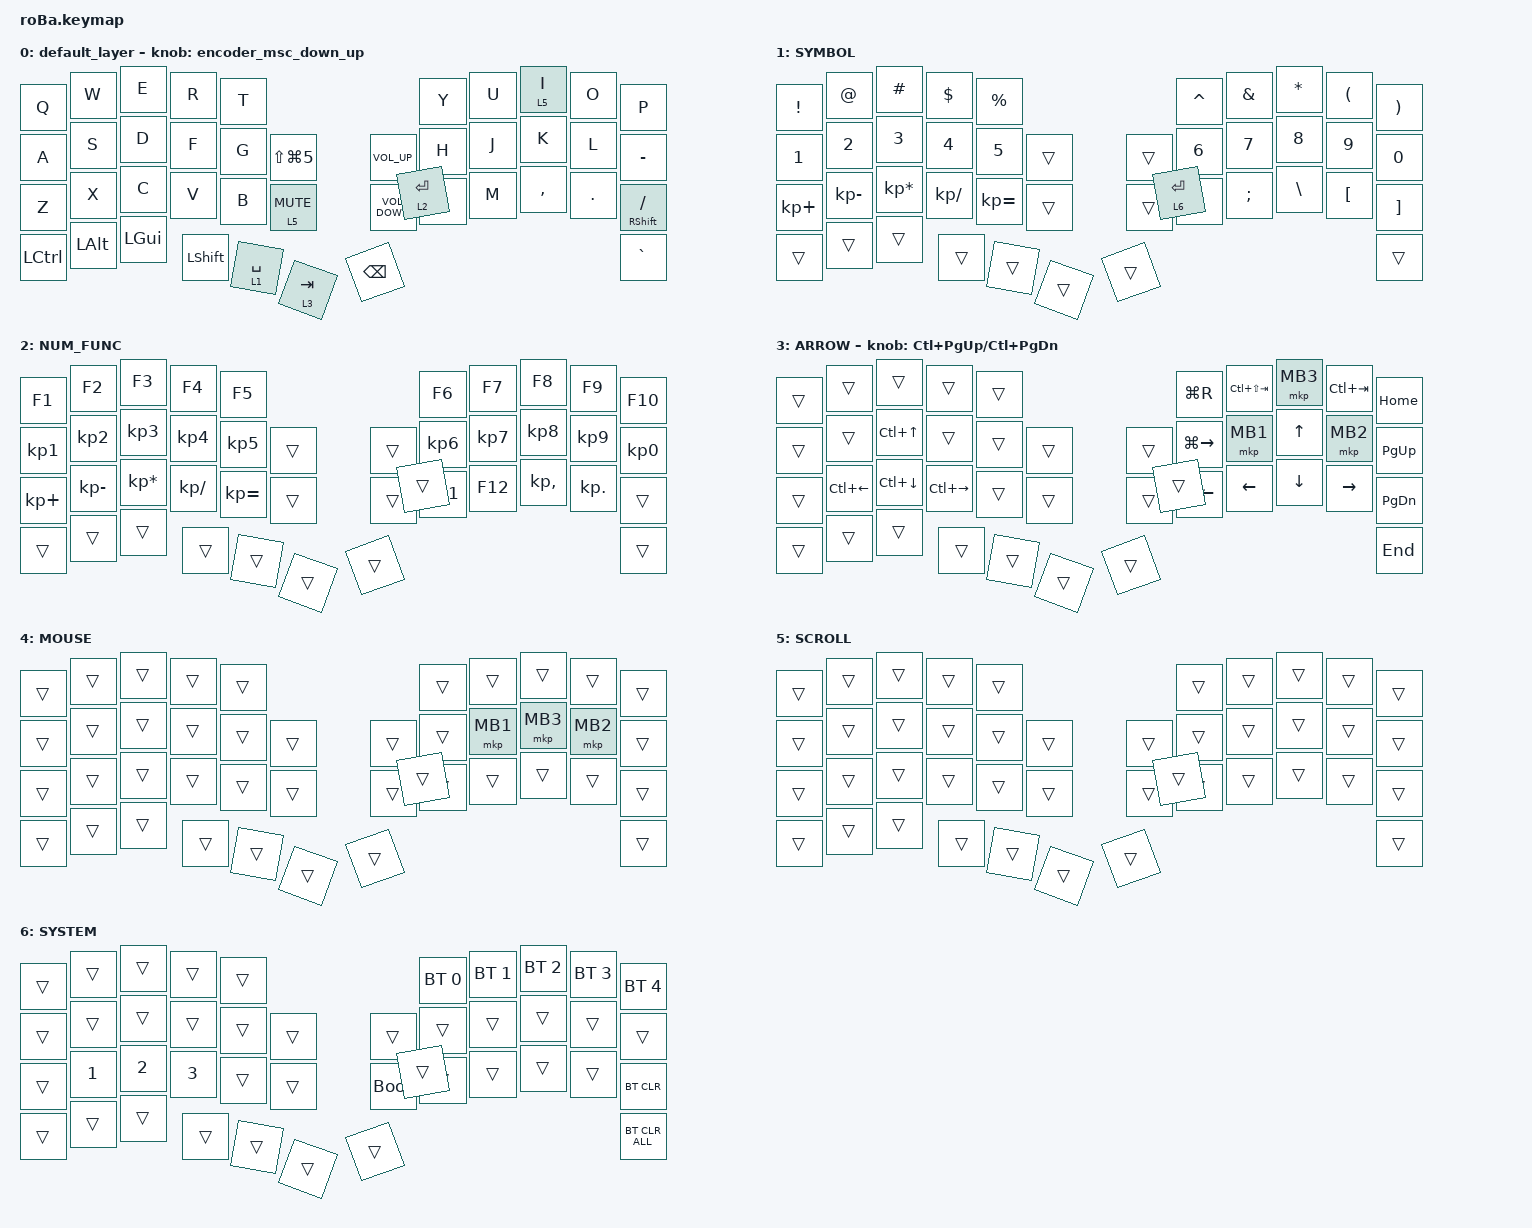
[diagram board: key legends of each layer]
#include <behaviors.dtsi>
#include <dt-bindings/zmk/bt.h>
#include <dt-bindings/zmk/keys.h>
#include <dt-bindings/zmk/pointing.h>

#define ZMK_POINTNG_DEFAULT_SCRL_VAL 100

&mt {
    flavor = "balanced";
    quick-tap-ms = <0>;
};

&trackball {
    automouse-layer = <4>;
    scroll-layers = <5>;

    // arrows {
    //     layers = <3>;
    //     bindings =
    //         <&kp RIGHT_ARROW>,
    //         <&kp LEFT_ARROW>,
    //         <&kp UP_ARROW>,
    //         <&kp DOWN_ARROW>;
    //     tick = <10>;
    //     wait-ms = <5>;
    //     tap-ms = <5>;
    // };
};

/ {
    combos {
        compatible = "zmk,combos";

        lang_en {
            bindings = <&kp LS(LC(SEMICOLON))>;
            key-positions = <12 13>;
        };

        lang_ja {
            bindings = <&kp LS(LC(J))>;
            key-positions = <18 19>;
        };

        esc {
            bindings = <&kp ESCAPE>;
            key-positions = <0 1>;
        };
    };

    macros {
        to_layer_0: to_layer_0 {
            compatible = "zmk,behavior-macro-one-param";
            #binding-cells = <1>;
            bindings = <&to 0 &macro_param_1to1 &kp MACRO_PLACEHOLDER>;
            label = "TO_LAYER_0";
        };
    };

    behaviors {
        encoder_msc_down_up: encoder_msc_down_up {
            compatible = "zmk,behavior-sensor-rotate";
            #sensor-binding-cells = <0>;
            bindings = <&msc SCRL_DOWN>, <&msc SCRL_UP>;
            tap-ms = <20>;
        };
        lt_to_layer_0: lt_to_layer_0 {
            compatible = "zmk,behavior-hold-tap";
            label = "LAYER_TAP_TO_0";
            bindings = <&mo>, <&to_layer_0>;

            #binding-cells = <2>;
            tapping-term-ms = <200>;
        };
    };

    keymap {
        compatible = "zmk,keymap";

        default_layer {
            bindings = <
&kp Q      &kp W         &kp E         &kp R           &kp T                                                     &kp Y        &kp U  &lt 5 I    &kp O    &kp P
&kp A      &kp S         &kp D         &kp F           &kp G        &kp LS(LG(NUMBER_5))      &kp C_VOLUME_UP    &kp H        &kp J  &kp K      &kp L    &kp MINUS
&kp Z      &kp X         &kp C         &kp V           &kp B        &lt 5 K_MUTE              &kp C_VOLUME_DOWN  &kp N        &kp M  &kp COMMA  &kp DOT  &mt RIGHT_SHIFT SLASH
&kp LCTRL  &kp LEFT_ALT  &kp LEFT_GUI  &kp LEFT_SHIFT  &lt 1 SPACE  &lt_to_layer_0 3 TAB      &kp BACKSPACE      &lt 2 ENTER                             &kp GRAVE
            >;

            sensor-bindings = <&encoder_msc_down_up>;
        };

        SYMBOL {
            bindings = <
&kp EXCLAMATION  &kp AT_SIGN   &kp HASH         &kp DOLLAR    &kp PERCENT                       &kp CARET         &kp AMPERSAND  &kp ASTERISK   &kp LEFT_PARENTHESIS  &kp RIGHT_PARENTHESIS
&kp NUMBER_1     &kp NUMBER_2  &kp NUMBER_3     &kp NUMBER_4  &kp NUMBER_5  &trans      &trans  &kp NUMBER_6      &kp NUMBER_7   &kp NUMBER_8   &kp NUMBER_9          &kp NUMBER_0
&kp KP_PLUS      &kp KP_MINUS  &kp KP_MULTIPLY  &kp KP_SLASH  &kp KP_EQUAL  &trans      &trans  &kp SINGLE_QUOTE  &kp SEMICOLON  &kp BACKSLASH  &kp LEFT_BRACKET      &kp RIGHT_BRACKET
&trans           &trans        &trans           &trans        &trans        &trans      &trans  &lt 6 ENTER                                                           &trans
            >;
        };

        NUM_FUNC {
            bindings = <
&kp F1           &kp F2           &kp F3           &kp F4           &kp F5                               &kp F6           &kp F7           &kp F8           &kp F9           &kp F10
&kp KP_NUMBER_1  &kp KP_NUMBER_2  &kp KP_NUMBER_3  &kp KP_NUMBER_4  &kp KP_NUMBER_5  &trans      &trans  &kp KP_NUMBER_6  &kp KP_NUMBER_7  &kp KP_NUMBER_8  &kp KP_NUMBER_9  &kp KP_NUMBER_0
&kp KP_PLUS      &kp KP_MINUS     &kp KP_MULTIPLY  &kp KP_DIVIDE    &kp KP_EQUAL     &trans      &trans  &kp F11          &kp F12          &kp KP_COMMA     &kp KP_DOT       &trans
&trans           &trans           &trans           &trans           &trans           &trans      &trans  &trans                                                              &trans
            >;
        };

        ARROW {
            bindings = <
&trans  &trans              &trans              &trans               &trans                      &kp LG(R)            &kp LC(LS(TAB))  &mkp MB3        &kp LC(TAB)      &kp HOME
&trans  &trans              &kp LC(UP_ARROW)    &trans               &trans  &trans      &trans  &kp LG(RIGHT_ARROW)  &mkp MB1         &kp UP_ARROW    &mkp MB2         &kp PAGE_UP
&trans  &kp LC(LEFT_ARROW)  &kp LC(DOWN_ARROW)  &kp LC(RIGHT_ARROW)  &trans  &trans      &trans  &kp LG(LEFT_ARROW)   &kp LEFT_ARROW   &kp DOWN_ARROW  &kp RIGHT_ARROW  &kp PAGE_DOWN
&trans  &trans              &trans              &trans               &trans  &trans      &trans  &trans                                                                 &kp END
            >;

            sensor-bindings = <&inc_dec_kp LC(PAGE_UP) LC(PAGE_DOWN)>;
        };

        MOUSE {
            bindings = <
&trans  &trans  &trans  &trans  &trans                      &trans  &trans    &trans    &trans    &trans
&trans  &trans  &trans  &trans  &trans  &trans      &trans  &trans  &mkp MB1  &mkp MB3  &mkp MB2  &trans
&trans  &trans  &trans  &trans  &trans  &trans      &trans  &trans  &trans    &trans    &trans    &trans
&trans  &trans  &trans  &trans  &trans  &trans      &trans  &trans                                &trans
            >;
        };

        SCROLL {
            bindings = <
&trans  &trans  &trans  &trans  &trans                      &trans  &trans  &trans  &trans  &trans
&trans  &trans  &trans  &trans  &trans  &trans      &trans  &trans  &trans  &trans  &trans  &trans
&trans  &trans  &trans  &trans  &trans  &trans      &trans  &trans  &trans  &trans  &trans  &trans
&trans  &trans  &trans  &trans  &trans  &trans      &trans  &trans                          &trans
            >;
        };

        SYSTEM {
            bindings = <
&trans  &trans        &trans        &trans        &trans                           &bt BT_SEL 0  &bt BT_SEL 1  &bt BT_SEL 2  &bt BT_SEL 3  &bt BT_SEL 4
&trans  &trans        &trans        &trans        &trans  &trans      &trans       &trans        &trans        &trans        &trans        &trans
&trans  &kp NUMBER_1  &kp NUMBER_2  &kp NUMBER_3  &trans  &trans      &bootloader  &trans        &trans        &trans        &trans        &bt BT_CLR
&trans  &trans        &trans        &trans        &trans  &trans      &trans       &trans                                                  &bt BT_CLR_ALL
            >;
        };
    };
};
